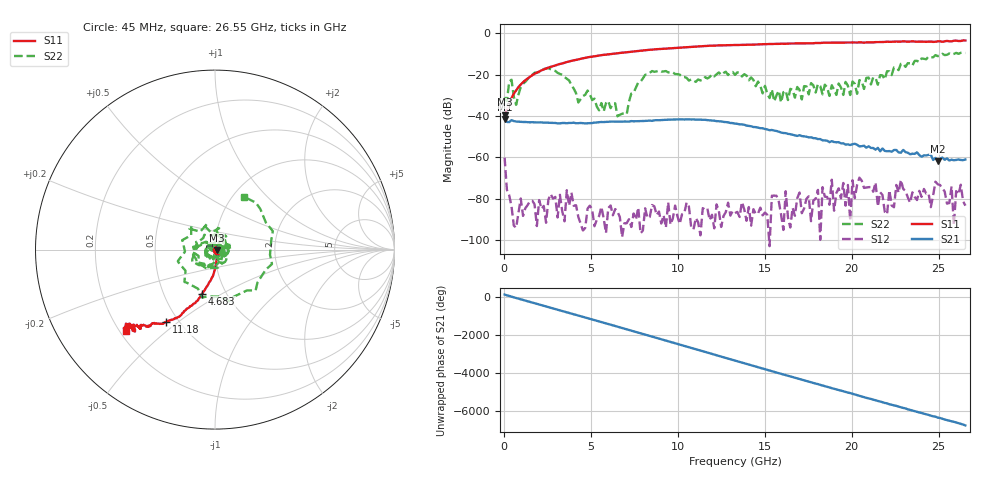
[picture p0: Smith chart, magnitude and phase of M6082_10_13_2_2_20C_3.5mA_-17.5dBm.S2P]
!  2-Port S-parameters saved by WinCal
! VAR MeasName=S-Parameters (CALIBRATED_DATA) read from VNA (C)
! VAR MeasDate=10/16/2015 2:33:06 PM
! VAR NAME=M6082_10_13_2_2_20C_3.5mA_-17.5dBm
! VAR FILENAME=M6082_10_13_2_2_20C_3.5mA_-17.5dBm.S2P
! VAR DATE=10/16/2015 2:33:06 PM
! VAR PHYS_PORTS=2,1
! VAR ObjTypeName=DATASET
! VAR IndexType=Frequency
# Hz S RI R 50
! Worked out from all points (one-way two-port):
!   201 points, 45 MHz to 26.55 GHz, reference 50 ohm
!   highest |S21| = -41.40 dB at 45 MHz (marker M1); lowest = -61.8 dB at 24.95 GHz (marker M2)
!   lowest |S11| = -39.4 dB at 45 MHz (marker M3), VSWR 1.02, Z = 51.1 - j0.202 ohm
!   |S11| at or under -10 dB: start of sweep to 6.126 GHz
!   |S22| runs from -40.1 to -9.2 dB; largest |S21 - S12| = 0.0084
!   S11 on the Smith chart (normalised r, x): 45 MHz: 1.02, -0.00; 4.683 GHz: 0.77, -0.41; 11.18 GHz: 0.43, -0.45; 26.55 GHz: 0.22, -0.37
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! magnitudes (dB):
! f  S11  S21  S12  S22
! 45 MHz  -39.4  -41.4  -60.1  -30.9
! 177.5 MHz  -37.0  -42.8  -75.7  -32.8
! 442.5 MHz  -31.3  -42.0  -83.7  -22.4
! 707.5 MHz  -27.5  -42.6  -94.0  -34.6
! 2.43 GHz  -17.0  -43.2  -91.6  -16.9
! 4.55 GHz  -12.1  -43.4  -95.4  -30.3
! 4.683 GHz  -11.8  -43.5  -94.1  -29.7
! 7.067 GHz  -9.1  -42.6  -91.8  -39.1
! 8.922 GHz  -7.6  -42.0  -86.2  -18.0
! 11.18 GHz  -6.3  -41.7  -91.4  -22.3
! 13.29 GHz  -5.6  -43.6  -87.0  -20.0
! 15.95 GHz  -5.0  -48.0  -87.6  -33.4
! 17.8 GHz  -4.8  -50.7  -80.8  -25.1
! 18.73 GHz  -4.5  -52.6  -82.9  -30.2
! 18.86 GHz  -4.4  -52.1  -70.8  -25.1
! 18.99 GHz  -4.4  -52.6  -85.8  -27.2
! 20.05 GHz  -4.3  -53.6  -71.1  -23.3
! 20.18 GHz  -4.4  -53.4  -79.7  -24.3
! 20.45 GHz  -4.3  -54.6  -69.8  -22.6
! 22.17 GHz  -4.0  -56.9  -75.9  -18.3
! 24.95 GHz  -3.8  -61.8  -73.0  -11.0
! 26.55 GHz  -3.4  -61.0  -83.3  -9.5
